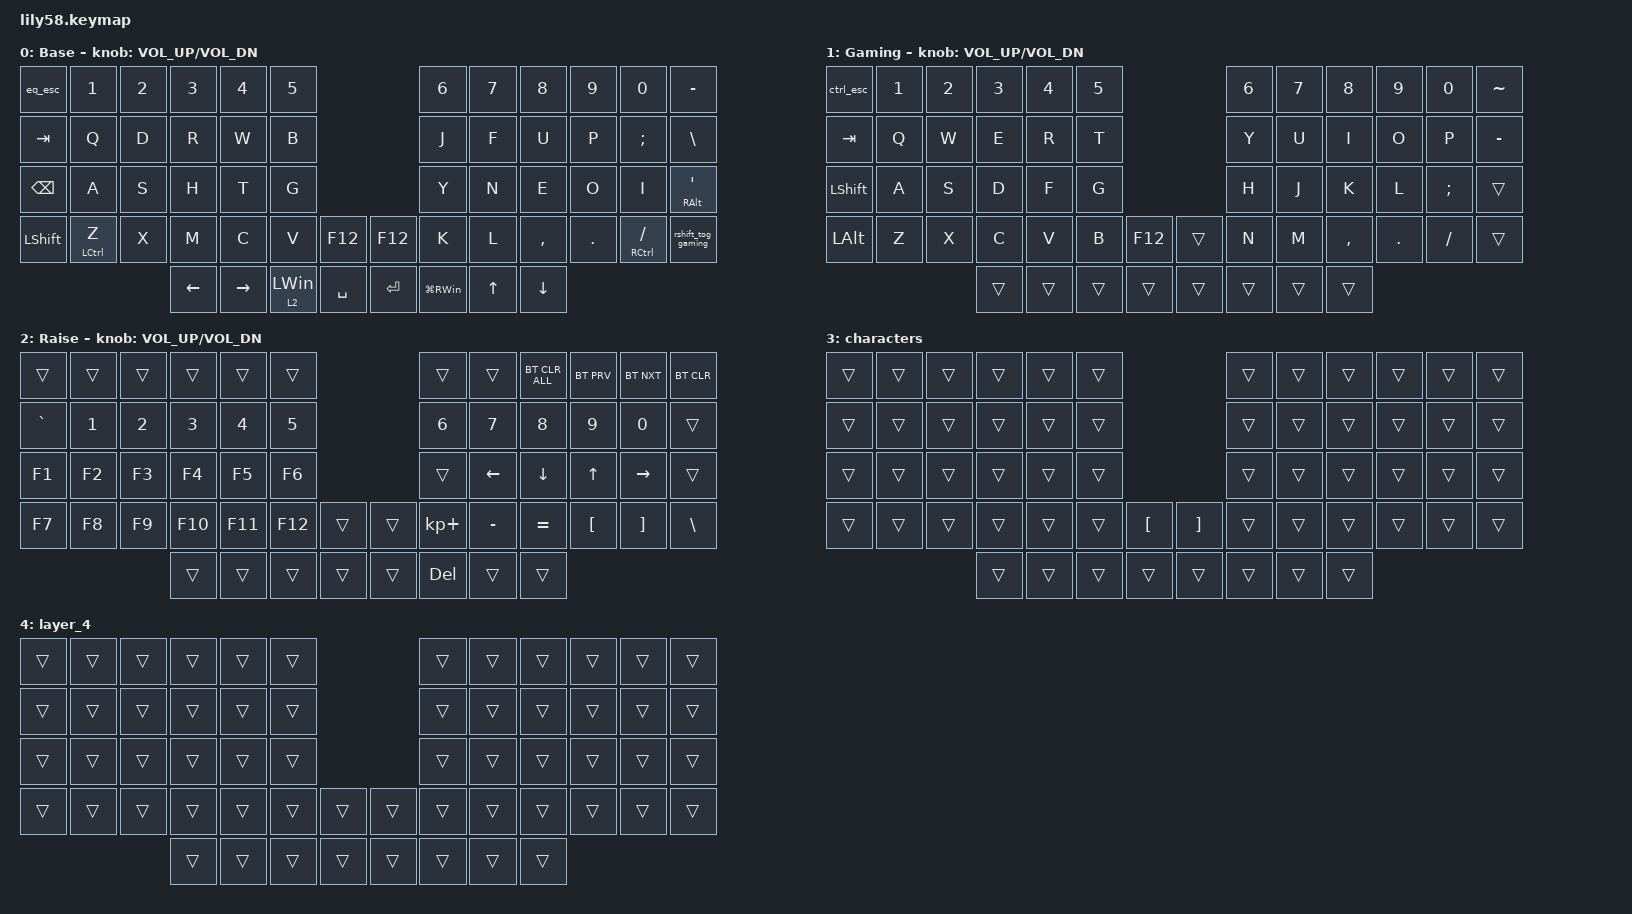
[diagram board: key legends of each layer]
/*
 * Copyright (c) 2020 The ZMK Contributors
 *
 * SPDX-License-Identifier: MIT
 */

#include <behaviors.dtsi>
#include <dt-bindings/zmk/bt.h>
#include <dt-bindings/zmk/keys.h>

/ {
    behaviors {
        eq_esc: eq_esc {
            compatible = "zmk,behavior-tap-dance";
            label = "EQ_ESC";
            #binding-cells = <0>;
            bindings = <&kp EQUAL>, <&kp ESCAPE>;
        };

        rshift_tog_gaming: rshift_tog_gaming {
            compatible = "zmk,behavior-tap-dance";
            label = "RSHIFT_TOG_GAMING";
            #binding-cells = <0>;
            bindings = <&kp RSHIFT>, <&tog 1>;
        };

        ctrl_esc: ctrl_esc {
            compatible = "zmk,behavior-tap-dance";
            label = "CTRL_ESC";
            #binding-cells = <0>;
            bindings = <&kp LCTRL>, <&kp ESCAPE>;
        };

        hold_tap: hold_tap {
            compatible = "zmk,behavior-hold-tap";
            label = "HOLD_TAP";
            bindings = <&mo>, <&kp>;

            #binding-cells = <2>;
            tapping-term-ms = <200>;
            flavor = "tap-preferred";
        };
    };

    keymap {
        compatible = "zmk,keymap";

        default_layer {
            // ------------------------------------------------------------------------------------------------------------
            // |  ESC  |  1  |  2  |  3   |  4   |  5   |                   |  6   |  7    |  8    |  9   |   0   |   `   |
            // |  TAB  |  Q  |  W  |  E   |  R   |  T   |                   |  Y   |  U    |  I    |  O   |   P   |   -   |
            // |  CTRL |  A  |  S  |  D   |  F   |  G   |                   |  H   |  J    |  K    |  L   |   ;   |   '   |
            // | SHIFT |  Z  |  X  |  C   |  V   |  B   |   "["  |  |  "]"  |  N   |  M    |  ,    |  .   |   /   | SHIFT |
            //                     | ALT  | GUI  | LOWER|  SPACE |  | ENTER | RAISE| BSPC  | GUI   |

            display-name = "Base";
            bindings = <
&eq_esc        &kp N1       &kp N2  &kp N3    &kp N4     &kp N5                                  &kp N6             &kp N7        &kp N8          &kp N9   &kp N0           &kp MINUS
&kp TAB        &kp Q        &kp D   &kp R     &kp W      &kp B                                   &kp J              &kp F         &kp U           &kp P    &kp SEMICOLON    &kp BACKSLASH
&kp BACKSPACE  &kp A        &kp S   &kp H     &kp T      &kp G                                   &kp Y              &kp N         &kp E           &kp O    &kp I            &mt RIGHT_ALT SQT
&kp LSHFT      &mt LCTRL Z  &kp X   &kp M     &kp C      &kp V             &kp F12      &kp F12  &kp K              &kp L         &kp COMMA       &kp DOT  &mt RCTRL SLASH  &rshift_tog_gaming
                                    &kp LEFT  &kp RIGHT  &hold_tap 2 LWIN  &kp SPACE    &kp RET  &kp LG(RIGHT_WIN)  &kp UP_ARROW  &kp DOWN_ARROW
            >;

            sensor-bindings = <&inc_dec_kp C_VOL_UP C_VOL_DN>;
        };

        gaming {
            // ------------------------------------------------------------------------------------------------------------
            // | BTCLR | BT1 | BT2 |  BT3 |  BT4 |  BT5 |                   |      |       |       |      |       |       |
            // |  F1   |  F2 |  F3 |  F4  |  F5  |  F6  |                   |  F7  |  F8   |  F9   |  F10 |  F11  |  F12  |
            // |   `   |  !  |  @  |  #   |  $   |  %   |                   |  ^   |  &    |  *    |  (   |   )   |   ~   |
            // |       |     |     |      |      |      |        |  |       |      |  _    |  +    |  {   |   }   |  "|"  |
            //                     |      |      |      |        |  |       |      |       |       |

            display-name = "Gaming";
            bindings = <
&ctrl_esc     &kp N1  &kp N2  &kp N3  &kp N4  &kp N5                     &kp N6  &kp N7  &kp N8     &kp N9      &kp N0         &kp TILDE
&kp TAB       &kp Q   &kp W   &kp E   &kp R   &kp T                      &kp Y   &kp U   &kp I      &kp O       &kp P          &kp MINUS
&kp LSHIFT    &kp A   &kp S   &kp D   &kp F   &kp G                      &kp H   &kp J   &kp K      &kp L       &kp SEMICOLON  &trans
&kp LEFT_ALT  &kp Z   &kp X   &kp C   &kp V   &kp B   &kp F12    &trans  &kp N   &kp M   &kp COMMA  &kp PERIOD  &kp SLASH      &trans
                              &trans  &trans  &trans  &trans     &trans  &trans  &trans  &trans
            >;

            sensor-bindings = <&inc_dec_kp C_VOL_UP C_VOL_DN>;
        };

        raise_layer {
            // ------------------------------------------------------------------------------------------------------------
            // |       |     |     |      |      |      |                   |      |       |       |      |       |       |
            // |   `   |  1  |  2  |  3   |  4   |  5   |                   |  6   |   7   |   8   |  9   |   0   |       |
            // |   F1  |  F2 |  F3 |  F4  |  F5  |  F6  |                   |      |   <-  |   v   |  ^   |  ->   |       |
            // |   F7  |  F8 |  F9 |  F10 |  F11 |  F12 |        |  |       |  +   |   -   |   =   |  [   |   ]   |   \   |
            //                     |      |      |      |        |  |       |      |       |       |

            display-name = "Raise";
            bindings = <
&trans     &trans  &trans  &trans   &trans   &trans                     &trans       &trans     &bt BT_CLR_ALL  &bt BT_PRV  &bt BT_NXT  &bt BT_CLR
&kp GRAVE  &kp N1  &kp N2  &kp N3   &kp N4   &kp N5                     &kp N6       &kp N7     &kp N8          &kp N9      &kp N0      &trans
&kp F1     &kp F2  &kp F3  &kp F4   &kp F5   &kp F6                     &trans       &kp LEFT   &kp DOWN        &kp UP      &kp RIGHT   &trans
&kp F7     &kp F8  &kp F9  &kp F10  &kp F11  &kp F12  &trans    &trans  &kp KP_PLUS  &kp MINUS  &kp EQUAL       &kp LBKT    &kp RBKT    &kp BSLH
                           &trans   &trans   &trans   &trans    &trans  &kp DELETE   &trans     &trans
            >;

            sensor-bindings = <&inc_dec_kp C_VOL_UP C_VOL_DN>;
        };

        characters {
            bindings = <
&trans  &trans  &trans  &trans  &trans  &trans                                         &trans  &trans  &trans  &trans  &trans  &trans
&trans  &trans  &trans  &trans  &trans  &trans                                         &trans  &trans  &trans  &trans  &trans  &trans
&trans  &trans  &trans  &trans  &trans  &trans                                         &trans  &trans  &trans  &trans  &trans  &trans
&trans  &trans  &trans  &trans  &trans  &trans  &kp LEFT_BRACKET    &kp RIGHT_BRACKET  &trans  &trans  &trans  &trans  &trans  &trans
                        &trans  &trans  &trans  &trans              &trans             &trans  &trans  &trans
            >;
        };

        layer_4 {
            bindings = <
&trans  &trans  &trans  &trans  &trans  &trans                    &trans  &trans  &trans  &trans  &trans  &trans
&trans  &trans  &trans  &trans  &trans  &trans                    &trans  &trans  &trans  &trans  &trans  &trans
&trans  &trans  &trans  &trans  &trans  &trans                    &trans  &trans  &trans  &trans  &trans  &trans
&trans  &trans  &trans  &trans  &trans  &trans  &trans    &trans  &trans  &trans  &trans  &trans  &trans  &trans
                        &trans  &trans  &trans  &trans    &trans  &trans  &trans  &trans
            >;
        };
    };
};
